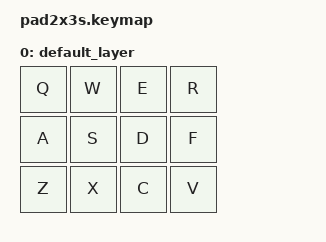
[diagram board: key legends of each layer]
/*
 * Copyright (c) 2024 Satoru NAKAYA
 *
 * SPDX-License-Identifier: MIT
 */

#include <behaviors.dtsi>
#include <dt-bindings/zmk/keys.h>

/ {
    keymap {
        compatible = "zmk,keymap";

        default_layer {
            bindings = <
                &kp Q &kp W     &kp E &kp R
                &kp A &kp S     &kp D &kp F
                &kp Z &kp X     &kp C &kp V
            >;
        };
    };
};
